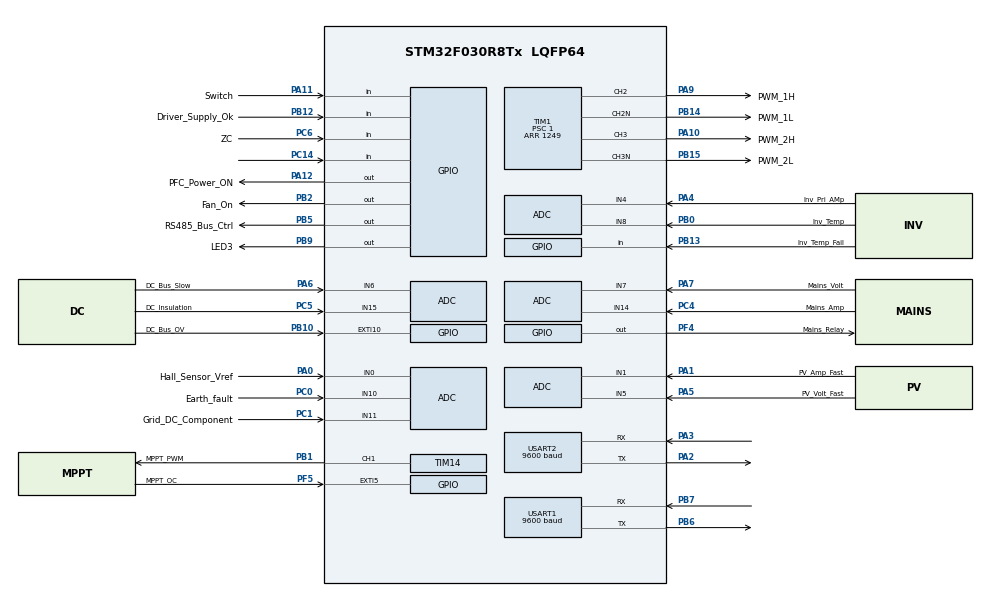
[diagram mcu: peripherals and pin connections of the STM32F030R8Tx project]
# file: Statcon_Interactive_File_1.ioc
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ADC.DMAContinuousRequests=ENABLE
ADC.EnableAnalogWatchDog=false
ADC.ExternalTrigConv=ADC_EXTERNALTRIGCONV_T1_TRGO
ADC.Overrun=ADC_OVR_DATA_OVERWRITTEN
ADC.SamplingTime=ADC_SAMPLETIME_7CYCLES_5
Dma.ADC.0.Direction=DMA_PERIPH_TO_MEMORY
Dma.ADC.0.Instance=DMA1_Channel1
Dma.ADC.0.MemDataAlignment=DMA_MDATAALIGN_HALFWORD
Dma.ADC.0.MemInc=DMA_MINC_ENABLE
Dma.ADC.0.Mode=DMA_CIRCULAR
Dma.ADC.0.PeriphDataAlignment=DMA_PDATAALIGN_HALFWORD
Dma.ADC.0.PeriphInc=DMA_PINC_DISABLE
Dma.ADC.0.Priority=DMA_PRIORITY_LOW
Dma.Request0=ADC
Mcu.Family=STM32F0
Mcu.Name=STM32F030R8Tx
Mcu.Package=LQFP64
NVIC.DMA1_Channel1_IRQn=true\:0\:0\:false\:false\:true\:false\:true\:true
NVIC.TIM1_BRK_UP_TRG_COM_IRQn=true\:1\:0\:true\:false\:true\:true\:true\:true
NVIC.USART1_IRQn=true\:0\:0\:false\:false\:true\:true\:true\:true
NVIC.USART2_IRQn=true\:0\:0\:false\:false\:true\:true\:true\:true
PA0.GPIO_Label=Hall_Sensor_Vref
PA0.Mode=IN0
PA0.Signal=ADC_IN0
PA1.GPIO_Label=PV_Amp_Fast
PA1.Mode=IN1
PA1.Signal=ADC_IN1
PA10.GPIO_Label=PWM_2H
PA10.Signal=S_TIM1_CH3
PA11.GPIO_Label=Switch
PA11.Signal=GPIO_Input
PA12.GPIO_Label=PFC_Power_ON
PA12.Signal=GPIO_Output
PA13.Mode=Serial_Wire
PA13.Signal=SYS_SWDIO
PA14.Mode=Serial_Wire
PA14.Signal=SYS_SWCLK
PA2.Mode=Asynchronous
PA2.Signal=USART2_TX
PA3.Mode=Asynchronous
PA3.Signal=USART2_RX
PA4.GPIO_Label=Inv_Pri_AMp
PA4.Mode=IN4
PA4.Signal=ADC_IN4
PA5.GPIO_Label=PV_Volt_Fast
PA5.Mode=IN5
PA5.Signal=ADC_IN5
PA6.GPIO_Label=DC_Bus_Slow
PA6.Mode=IN6
PA6.Signal=ADC_IN6
PA7.GPIO_Label=Mains_Volt
PA7.Mode=IN7
PA7.Signal=ADC_IN7
PA9.GPIO_Label=PWM_1H
PA9.Signal=S_TIM1_CH2
PB0.GPIO_Label=Inv_Temp
PB0.Mode=IN8
PB0.Signal=ADC_IN8
PB1.GPIO_Label=MPPT_PWM
PB1.Signal=S_TIM14_CH1
PB10.GPIO_Label=DC_Bus_OV
PB10.Signal=GPXTI10
PB12.GPIO_Label=Driver_Supply_Ok
PB12.Signal=GPIO_Input
PB13.GPIO_Label=Inv_Temp_Fail
PB13.Signal=GPIO_Input
PB14.GPIO_Label=PWM_1L
PB14.Mode=PWM Generation2 CH2 CH2N
PB14.Signal=TIM1_CH2N
PB15.GPIO_Label=PWM_2L
PB15.Mode=PWM Generation3 CH3 CH3N
PB15.Signal=TIM1_CH3N
PB2.GPIO_Label=Fan_On
PB2.Signal=GPIO_Output
PB5.GPIO_Label=RS485_Bus_Ctrl
PB5.Signal=GPIO_Output
PB6.Mode=Asynchronous
PB6.Signal=USART1_TX
PB7.Mode=Asynchronous
PB7.Signal=USART1_RX
PB9.GPIO_Label=LED3
PB9.Signal=GPIO_Output
PC0.GPIO_Label=Earth_fault
PC0.Mode=IN10
PC0.Signal=ADC_IN10
PC1.GPIO_Label=Grid_DC_Component
PC1.Mode=IN11
PC1.Signal=ADC_IN11
PC14-OSC32_IN.Signal=GPIO_Input
PC4.GPIO_Label=Mains_Amp
PC4.Mode=IN14
PC4.Signal=ADC_IN14
PC5.GPIO_Label=DC_Insulation
PC5.Mode=IN15
PC5.Signal=ADC_IN15
PC6.GPIO_Label=ZC
PC6.Signal=GPIO_Input
PF4.GPIO_Label=Mains_Relay
PF4.Signal=GPIO_Output
PF5.GPIO_Label=MPPT_OC
PF5.Signal=GPXTI5
ProjectManager.HeapSize=0x200
ProjectManager.StackSize=0x400
ProjectManager.TargetToolchain=STM32CubeIDE
RCC.AHBFreq_Value=48000000
RCC.APB1Freq_Value=48000000
RCC.APB1TimFreq_Value=48000000
RCC.HCLKFreq_Value=48000000
RCC.PLLMUL=RCC_PLL_MUL12
RCC.SYSCLKFreq_VALUE=48000000
RCC.SYSCLKSource=RCC_SYSCLKSOURCE_PLLCLK
SH.S_TIM14_CH1.0=TIM14_CH1,PWM Generation1 CH1
SH.S_TIM1_CH2.0=TIM1_CH2,PWM Generation2 CH2 CH2N
SH.S_TIM1_CH3.0=TIM1_CH3,PWM Generation3 CH3 CH3N
TIM1.BreakPolarity=TIM_BREAKPOLARITY_LOW
TIM1.BreakState=TIM_BREAK_DISABLE
TIM1.Channel-PWM\ Generation2\ CH2\ CH2N=TIM_CHANNEL_2
TIM1.Channel-PWM\ Generation3\ CH3\ CH3N=TIM_CHANNEL_3
TIM1.CounterMode=TIM_COUNTERMODE_CENTERALIGNED3
TIM1.DeadTime=150
TIM1.OCMode_PWM-PWM\ Generation3\ CH3\ CH3N=TIM_OCMODE_PWM1
TIM1.OffStateIDLEMode=TIM_OSSI_ENABLE
TIM1.Period=1249
TIM1.Prescaler=1
TIM1.Pulse-PWM\ Generation2\ CH2\ CH2N=0
TIM1.Pulse-PWM\ Generation3\ CH3\ CH3N=0
TIM1.RepetitionCounter=1
TIM1.TIM_MasterOutputTrigger=TIM_TRGO_UPDATE
TIM1.TIM_MasterSlaveMode=TIM_MASTERSLAVEMODE_DISABLE
TIM14.Channel=TIM_CHANNEL_1
TIM14.Period=685
TIM3.Period=60000
TIM3.Prescaler=95
USART1.BaudRate=9600
USART1.VirtualMode-Asynchronous=VM_ASYNC
USART2.BaudRate=9600
USART2.DMADisableonRxErrorParam=ADVFEATURE_DMA_ENABLEONRXERROR
USART2.VirtualMode-Asynchronous=VM_ASYNC
VP_TIM14_VS_ClockSourceINT.Mode=Enable_Timer
VP_TIM1_VS_ClockSourceINT.Mode=Internal
VP_TIM3_VS_ClockSourceINT.Mode=Internal
board=custom

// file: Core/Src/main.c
/* USER CODE BEGIN Header */
/**
  ******************************************************************************
  * @file           : main.c
  * @brief          : Main program body
  ******************************************************************************
  * @attention
  *
  * <h2><center>&copy; Copyright (c) 2019 STMicroelectronics.
  * All rights reserved.</center></h2>
  *
  * This software component is licensed by ST under BSD 3-Clause license,
  * the "License"; You may not use this file except in compliance with the
  * License. You may obtain a copy of the License at:
  *                        opensource.org/licenses/BSD-3-Clause
  *
  ******************************************************************************
  */
/* USER CODE END Header */
#include "main.h"
#include "adc.h"
#include "dma.h"
#include "tim.h"
#include "usart.h"
#include "gpio.h"

/* USER CODE BEGIN Includes */

#include "definations.h"
#include "math.h"
#include "User_Defined_Functions.h"
#include "UART2_Slave_Variables.h"
#include "UART2_Slave_Functions.h"
#include "UART1_Slave_Variables.h"
#include "UART1_Slave_Functions.h"
#include "UART_Debugging_Variables.h"
#include "UART_Debugging_Functions.h"
/* USER CODE END Includes */

void SystemClock_Config(void);

int main(void)
{

  /* USER CODE BEGIN 1 */
//	reinit:
  /* USER CODE END 1 */

  /* MCU Configuration--------------------------------------------------------*/

  /* Reset of all peripherals, Initializes the Flash interface and the Systick. */
  LL_APB1_GRP2_EnableClock(LL_APB1_GRP2_PERIPH_SYSCFG);
  LL_APB1_GRP1_EnableClock(LL_APB1_GRP1_PERIPH_PWR);

  /* Configure the system clock */
  SystemClock_Config();

  /* Initialize all configured peripherals */
  MX_GPIO_Init();
  MX_DMA_Init();
  MX_ADC_Init();
  MX_TIM1_Init();
  MX_USART1_UART_Init();
  MX_USART2_UART_Init();
  MX_TIM14_Init();
  MX_TIM3_Init();
  /* USER CODE BEGIN 2 */
  Variable_Init();
  UART_Debugging_Slave_Variables_Init();
  Fast_Limit_Flags.DC_insulation = 0;
    ADC1->CR |= ADC_CR_ADEN | ADC_CR_ADSTART;    // adc enable and adc start

  	///*TIMER 3  CONFIG AND DMA *///
	 TIM3_CAPEN_IEN_STRT();            // Timer 3 capture_enable : interupt enable: start of zero crossing detection
//	 CAPTURE_DMA_CH4_CONFIG();         // DMA configuration for capture enable and storing data

     ///* TIMER 1 CONFIG AND DMA*///
	 ADC_DMA_CH1_CONFIG();             // DMA configuration for adc values
	 TIM1_OEN_DT_CCEN_IEN_STRT();      // Timer 1 output_enable : dead_time: capture_compare : interupt_enable: start

	 TIM14_CH1_PWM_Config();

//	 Flash_Erase();
//	 Flash_Write();
//
//	 Copy_Calib_From_Flash();

  /* USER CODE END 2 */

  /* Infinite loop */
  /* USER CODE BEGIN WHILE */
//	 Norm_Avg.V_PV = 1097;
//	 Norm_Avg.I_PV = 435;

	 UART1_Enable_Receive_Interrupt; //Enabling the receive interrupt
	 UART1_Enable;

	 UART2_Enable_Receive_Interrupt; //Enabling the receive interrupt
	 UART2_Enable;

	 UART_Debugging_Enable_Receive_Interrupt; //Enabling the receive interrupt
	 UART_Debugging_Enable;

	 PFC_Power_ON;
  while (1)
  {
      // ...........................................................................  RMS CALCULATOR..................................................................................................//
  	  if(Inv_Cntrl.RMS_Sqrt_Calc_Request == 1)
  	  {
			Temp_Var.I_Inv_Pri = sqrtf(Norm_Rms.I_Inv_Pri_Mean_Sq); // Rms inverter current
			Temp_Var.V_Mains = sqrtf(Norm_Rms.V_Mains_Mean_Sq);     // Rms Mains voltage
			Temp_Var.I_Mains_CT = sqrtf(Norm_Rms.I_Mains_CT_Mean_Sq);
			Temp_Var.Earth_Fault = sqrtf(Norm_Rms.Earth_Fault_Mean_Sq);

			Inv_Cntrl.RMS_Sqrt_Calc_Request = 0;

			Norm_Rms.I_Inv_Pri = (Temp_Var.I_Inv_Pri * Calibration_Var.I_Inv)>>11;
			Norm_Rms.I_Mains_CT = (Temp_Var.I_Mains_CT * Calibration_Var.I_Mains_CT)>>11;
			Norm_Rms.V_Mains = (Temp_Var.V_Mains * Calibration_Var.V_Mains)>>11;
			Norm_Rms.Earth_Fault = Temp_Var.Earth_Fault;                                   //remove calibration

			if(Norm_Rms.I_Inv_Pri >4096)
			{
				Norm_Rms.I_Inv_Pri = 4096;
			}
			if(Norm_Rms.V_Mains >4096)
			{
				Norm_Rms.V_Mains = 4096;
			}
			if(Norm_Rms.I_Mains_CT > 4096)
			{
				Norm_Rms.I_Mains_CT = 4096;
			}

			//////////////////////////////////////   For calculation of power factor    //////////////////////////////////////
//			Power_Factor_Calculation();
			//////////////////////////////////////

			if(Inv_Cntrl.State == 1)//state 1 implies grid export mode
			{
				if((Inv_Cntrl.I_Peak_Ref>Inv_Cntrl.Inv_Export_Ipeak_limit>>5)||(Inv_Cntrl.I_Peak_Ref<-(Inv_Cntrl.Inv_Import_Ipeak_limit>>5)))//
				{
					Energy_Calculation(); // Mains export or import energy calculation
//					Energy_Calculation_For_GSM_Card();
				}
			}
//			Energy_Calculation();
			PV_KWhr_Calculation();

			Energy_Calculation_With_Mains_CT(); // Mains export or import energy calculation

			if(Othr.System_Off_Timer<=5000)//turning off debug variable data for first 5 seconds
			{
				Debug_Fast.A=0;
				Debug_Fast.B=0;
				Debug_Fast.C=0;
				Debug_Fast.D=0;
				Debug_Fast.E=0;
				Debug_Fast.F=0;
				Debug_Fast.G=0;
				Debug_Fast.H=0;
				Debug_Fast.I=0;
				Debug_Fast.J=0;
				Debug_Fast.K=0;
				Debug_Fast.L=0;
				Debug_Fast.M=0;
				Debug_Fast.N=0;

				Debug_Rms=Debug_Fast;
				Debug_Avg=Debug_Fast;
				Debug_State = Debug_Fast;
			}
		}

//  	if(Calibration_Var.Copy_To_Flash_Rqst_V_Mains_Offset==1)
//	  {
//		Calibration_Var.Copy_To_Flash_Rqst_V_Mains_Offset=0;
//		TIM1->DIER &= ~TIM_DIER_UIE;//Disable TIM1_INT
//		TIM3->DIER &= (~TIM_DIER_CC1IE & ~TIM_DIER_CC1DE);//Disable TIM3_Capture_Int
//		UART2_Disable_Receive_Interrupt;
//		UART1_Disable_Receive_Interrupt;
//
//		//Make sure that cpu is not doing any other operation during erasing and copying to flash memory
//
//		// Two times flash erase and write is written because for first time when trying to write its not writing in flash
//		Flash_Erase_1();
//		for (__IO uint64_t i = 0; i < 48000; i++)
//			{
//
//			}
//
//
//		Flash_Write_1();
//		for (__IO uint64_t i = 0; i < 48000; i++)
//			{
//
//			}
//
//		Flash_Erase_1();
//		for (__IO uint64_t i = 0; i < 48000; i++)
//			{
//
//			}
//
//
//		Flash_Write_1();
//		for (__IO uint64_t i = 0; i < 48000; i++)
//			{
//
//			}
//
//		//Check if copied properly;
//		//RCC->BDCR|=RCC_BDCR_BDRST;
//		goto reinit;
//
//		for(__IO uint8_t ind=0; ind<200; ind++)
//			{
//				UART2_recvdata[ind]=0;
//			}
//			UART2_Rec_Var.Array_Index=0;
//			UART2_Rec_Var.recdata=0;
//			UART2_Rec_Flags.busy_flag=0;
//			UART2_Rec_Flags.recv_check=0;
//
//		for(__IO uint8_t ind1=0; ind1<200; ind1++)
//			{
//				UART1_recvdata[ind1]=0;
//			}
//			UART1_Rec_Var.Array_Index=0;
//			UART1_Rec_Var.recdata=0;
//			UART1_Rec_Flags.busy_flag=0;
//			UART1_Rec_Flags.recv_check=0;
//			RCC->BDCR|=RCC_BDCR_BDRST;
//
//					goto reinit;
//		TIM1->DIER |= TIM_DIER_UIE;
//		TIM3->DIER |= (TIM_DIER_CC1IE | TIM_DIER_CC1DE);//Enable TIM1_INT
//		UART2_Enable_Receive_Interrupt;
//		UART1_Enable_Receive_Interrupt;
//
//				//Enable TIM3_Capture_Int
//	  }
//
//  	  if(Calibration_Var.Copy_To_Flash_Request==1)
//  	  {
//  	  	Calibration_Var.Copy_To_Flash_Request=0;
//  	  	TIM1->DIER &= ~TIM_DIER_UIE;//Disable TIM1_INT
//  	  	TIM3->DIER &= (~TIM_DIER_CC1IE & ~TIM_DIER_CC1DE);//Disable TIM3_Capture_Int
//  	  	UART2_Disable_Receive_Interrupt;
//		UART1_Disable_Receive_Interrupt;
//
//  	  	//Make sure that cpu is not doing any other operation during erasing and copying to flash memory
//
//		// Two times flash erase and write is written because for first time when trying to write its not writing in flash
//		Flash_Erase();
//  	  	for (__IO uint64_t i = 0; i < 48000; i++)
//  	  	    {
//
//  	  	    }
//
//
//  	  	Flash_Write();
//  	  	for (__IO uint64_t i = 0; i < 48000; i++)
//  	  	    {
//
//  	  	    }
//
//		Flash_Erase();
//  	  	for (__IO uint64_t i = 0; i < 48000; i++)
//  	  	    {
//
//  	  	    }
//
//
//  	  	Flash_Write();
//  	  	for (__IO uint64_t i = 0; i < 48000; i++)
//  	  	    {
//
//  	  	    }
//
//  	  	//Check if copied properly;
//  	  	//RCC->BDCR|=RCC_BDCR_BDRST;
//  	  	//goto reinit;
//
//		for(__IO uint8_t ind=0; ind<200; ind++)
//			{
//				UART2_recvdata[ind]=0;
//			}
//			UART2_Rec_Var.Array_Index=0;
//			UART2_Rec_Var.recdata=0;
//			UART2_Rec_Flags.busy_flag=0;
//			UART2_Rec_Flags.recv_check=0;
//
//		for(__IO uint8_t ind1=0; ind1<200; ind1++)
//			{
//				UART1_recvdata[ind1]=0;
//			}
//			UART1_Rec_Var.Array_Index=0;
//			UART1_Rec_Var.recdata=0;
//			UART1_Rec_Flags.busy_flag=0;
//			UART1_Rec_Flags.recv_check=0;
//			RCC->BDCR|=RCC_BDCR_BDRST;
//
//					goto reinit;
//  	  	TIM1->DIER |= TIM_DIER_UIE;
//  	  	TIM3->DIER |= (TIM_DIER_CC1IE | TIM_DIER_CC1DE);//Enable TIM1_INT
//  	  	UART2_Enable_Receive_Interrupt;
//  	  	UART1_Enable_Receive_Interrupt;
//
//				//Enable TIM3_Capture_Int
//  	  }

	  UART1_Store_Received_Data_In_Variables();
	  UART1_Request_Send_Message();

//	  UART2_Store_Received_Data_In_Variables();
//	  UART2_Request_Send_Message();

    /* USER CODE END WHILE */

  }
}

void SystemClock_Config(void)
{
  LL_FLASH_SetLatency(LL_FLASH_LATENCY_1);
  while(LL_FLASH_GetLatency() != LL_FLASH_LATENCY_1)
  {
  }
  LL_RCC_HSI_Enable();

   /* Wait till HSI is ready */
  while(LL_RCC_HSI_IsReady() != 1)
  {

  }
  LL_RCC_HSI_SetCalibTrimming(16);
  LL_RCC_HSI14_Enable();

   /* Wait till HSI14 is ready */
  while(LL_RCC_HSI14_IsReady() != 1)
  {

  }
  LL_RCC_HSI14_SetCalibTrimming(16);
  LL_RCC_PLL_ConfigDomain_SYS(LL_RCC_PLLSOURCE_HSI_DIV_2, LL_RCC_PLL_MUL_12);
  LL_RCC_PLL_Enable();

   /* Wait till PLL is ready */
  while(LL_RCC_PLL_IsReady() != 1)
  {

  }
  LL_RCC_SetAHBPrescaler(LL_RCC_SYSCLK_DIV_1);
  LL_RCC_SetAPB1Prescaler(LL_RCC_APB1_DIV_1);
  LL_RCC_SetSysClkSource(LL_RCC_SYS_CLKSOURCE_PLL);

   /* Wait till System clock is ready */
  while(LL_RCC_GetSysClkSource() != LL_RCC_SYS_CLKSOURCE_STATUS_PLL)
  {

  }
  LL_Init1msTick(48000000);
  LL_SetSystemCoreClock(48000000);
  LL_RCC_HSI14_EnableADCControl();
  LL_RCC_SetUSARTClockSource(LL_RCC_USART1_CLKSOURCE_PCLK1);
}

void Error_Handler(void)
{
}
